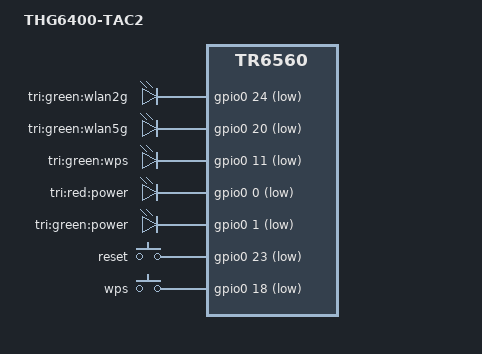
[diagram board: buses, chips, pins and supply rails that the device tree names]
/*
 * dts file for TRIDUCTOR Ltd. tr6560  Board
 *
 * Copyright (C) 2021-07-29, TRIDUCTOR Ltd.
 *
 */

#include <dt-bindings/gpio/gpio.h>
#include <dt-bindings/input/input.h>
#include <dt-bindings/phy/phy.h>
#include <dt-bindings/interrupt-controller/irq.h>
#include <dt-bindings/interrupt-controller/arm-gic.h>

#include "triductor-tr6560.dtsi" 

/ {
	model = "THG6400-TAC2";
	compatible = "THG6400-TAC2", "triductor,tr6560";

	leds {
		compatible = "gpio-leds";
		wlan_sharegpio = <1>;

		wlan2g {
			label = "tri:green:wlan2g";
			gpios = <&gpio0 24 GPIO_ACTIVE_LOW>;
			default-state = "off";
		};

		wlan5g {
			label = "tri:green:wlan5g";
			gpios = <&gpio0 20 GPIO_ACTIVE_LOW>;
			default-state = "off";
		};

		wps {
			label = "tri:green:wps";
			gpios = <&gpio0 11 GPIO_ACTIVE_LOW>;
			default-state = "off";
		};

		power-red {
			label = "tri:red:power";
			gpios = <&gpio0 0 GPIO_ACTIVE_LOW>;
			default-state = "keep";
		};

		power-green {
			label = "tri:green:power";
			gpios = <&gpio0 1 GPIO_ACTIVE_LOW>;
			default-state = "off";
		};
	};

	keys {
		compatible = "gpio-keys-polled";
		poll-interval = <100>;
		
		reset {
			label = "reset";
			linux,code = <KEY_RESTART>;
			gpios = <&gpio0 23 GPIO_ACTIVE_LOW>;
		};

		wps {
			label = "wps";
			linux,code = <KEY_WPS_BUTTON>;
			gpios = <&gpio0 18 GPIO_ACTIVE_LOW>;
		};
	};

	// 此节点标识单板gpio特性
	board{
		compatible = "tri,board";
		usb_power = <27>; // usb 电源控制vbus管脚
		current_limit = <28>; //gpio限流保护引脚，目前无芯片使用
		
		tr5120;
		pcie1_1;
		reset_pcie0 = <16>;   //wifi 芯片复位控制管脚
		reset_pcie1 = <9>;

		rgmii;               // rgmii模块属性，涉及GPIO复用配置，不使用请屏蔽
        extphy;              // 带rgmii时的外置phy属性，涉及GPIO复用配置，不使用请屏蔽
        tx_delay     = <4>;  //rgmill tx_delay 0.2ns步进
        rx_delay     = <0>; //rgmill rx_delay 0.2ns步进
        extphy_rstn  = <25>;  //外置phy reset 引脚

        i2c;                // TR6560 i2c 只有一组GPIO24，GPIO25
        i2c_enable   = <0>; // 等于1，使能iic 模块,等于0 不使能i2c 模块
        addr_mode    = <0x1>; //0.7bit地址长度  1:10bit地址长度
        baud_rate    = <0x1>; // 0:100k 1:400k 2:3.4M
		
		jtag_sel;            //wifi芯片操作gpio管脚和jtag复用，jtag优先级更高

	};
};

&halport0 {
	ports {
		#address-cells = <1>;
		#size-cells = <0>;
		port@0 {
			reg = <0>;
			label = "wan";
			phy-mode = "internal";
			phy-handle = <&phy1>;
		};
		port@1 {
			reg = <1>;
			label = "lan1";
			phy-mode = "internal";
			phy-handle = <&phy2>;
		};
		port@2 {
			reg = <2>;
			label = "lan2";
			phy-mode = "internal";
			phy-handle = <&phy3>;
		};
		port@3 {
			reg = <3>;
			label = "lan3";
			phy-mode = "internal";
			phy-handle = <&phy4>;
		};
	};

};
